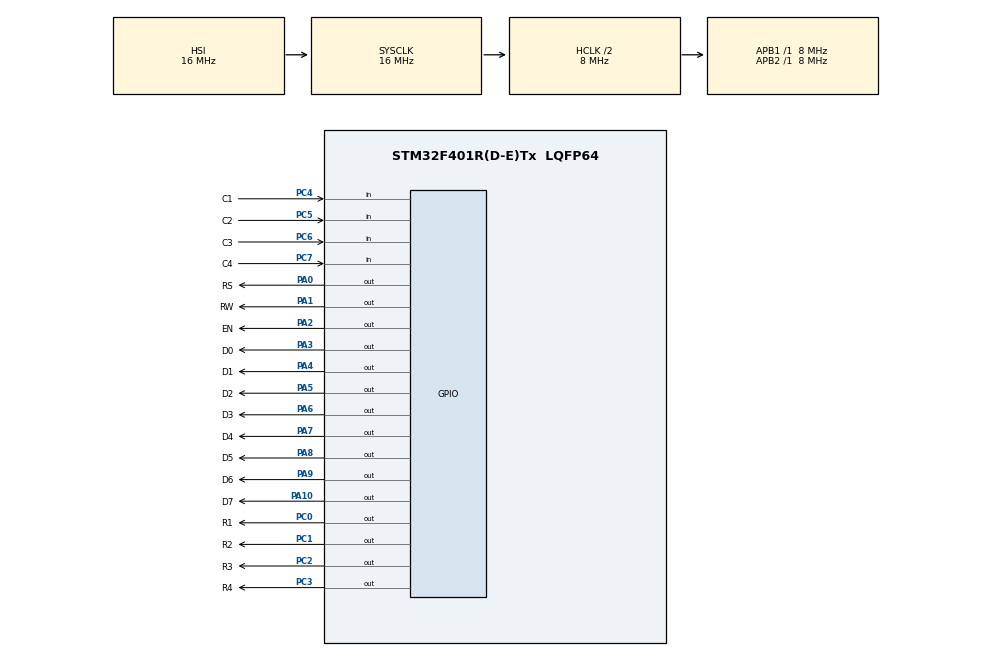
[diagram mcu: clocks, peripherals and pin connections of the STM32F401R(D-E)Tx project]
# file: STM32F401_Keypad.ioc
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Mcu.Family=STM32F4
Mcu.Name=STM32F401R(D-E)Tx
Mcu.Package=LQFP64
NVIC.PriorityGroup=NVIC_PRIORITYGROUP_4
PA0-WKUP.GPIO_Label=RS
PA0-WKUP.Signal=GPIO_Output
PA1.GPIO_Label=RW
PA1.Signal=GPIO_Output
PA10.GPIO_Label=D7
PA10.Signal=GPIO_Output
PA2.GPIO_Label=EN
PA2.Signal=GPIO_Output
PA3.GPIO_Label=D0
PA3.Signal=GPIO_Output
PA4.GPIO_Label=D1
PA4.Signal=GPIO_Output
PA5.GPIO_Label=D2
PA5.Signal=GPIO_Output
PA6.GPIO_Label=D3
PA6.Signal=GPIO_Output
PA7.GPIO_Label=D4
PA7.Signal=GPIO_Output
PA8.GPIO_Label=D5
PA8.Signal=GPIO_Output
PA9.GPIO_Label=D6
PA9.Signal=GPIO_Output
PC0.GPIO_Label=R1
PC0.Signal=GPIO_Output
PC1.GPIO_Label=R2
PC1.Signal=GPIO_Output
PC14-OSC32_IN.Mode=LSE-External-Oscillator
PC14-OSC32_IN.Signal=RCC_OSC32_IN
PC15-OSC32_OUT.Mode=LSE-External-Oscillator
PC15-OSC32_OUT.Signal=RCC_OSC32_OUT
PC2.GPIO_Label=R3
PC2.Signal=GPIO_Output
PC3.GPIO_Label=R4
PC3.Signal=GPIO_Output
PC4.GPIO_Label=C1
PC4.Signal=GPIO_Input
PC5.GPIO_Label=C2
PC5.Signal=GPIO_Input
PC6.GPIO_Label=C3
PC6.Signal=GPIO_Input
PC7.GPIO_Label=C4
PC7.Signal=GPIO_Input
PH0\ -\ OSC_IN.Mode=HSE-External-Oscillator
PH0\ -\ OSC_IN.Signal=RCC_OSC_IN
PH1\ -\ OSC_OUT.Mode=HSE-External-Oscillator
PH1\ -\ OSC_OUT.Signal=RCC_OSC_OUT
ProjectManager.HeapSize=0x200
ProjectManager.StackSize=0x400
ProjectManager.TargetToolchain=STM32CubeIDE
RCC.AHBCLKDivider=RCC_SYSCLK_DIV2
RCC.AHBFreq_Value=8000000
RCC.APB1Freq_Value=8000000
RCC.APB1TimFreq_Value=8000000
RCC.APB2Freq_Value=8000000
RCC.APB2TimFreq_Value=8000000
RCC.CortexFreq_Value=8000000
RCC.HCLKFreq_Value=8000000
RCC.HSE_VALUE=25000000
RCC.HSI_VALUE=16000000
RCC.SYSCLKFreq_VALUE=16000000
RCC.VCOOutputFreq_Value=192000000
board=custom

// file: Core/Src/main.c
/* USER CODE BEGIN Header */
/**
  ******************************************************************************
  * @file           : main.c
  * @brief          : Main program body
  ******************************************************************************
  * @attention
  *
  * Copyright (c) 2024 STMicroelectronics.
  * All rights reserved.
  *
  * This software is licensed under terms that can be found in the LICENSE file
  * in the root directory of this software component.
  * If no LICENSE file comes with this software, it is provided AS-IS.
  *
  ******************************************************************************
  */
/* USER CODE END Header */
#include "main.h"

/* USER CODE BEGIN Includes */
#include <stdio.h>
#include <stdlib.h>
#include <string.h>
/* USER CODE END Includes */

/* USER CODE BEGIN PV */
uint16_t pin[] = {D0_Pin,D1_Pin,D2_Pin,D3_Pin,D4_Pin,D5_Pin,D6_Pin,D7_Pin};
uint8_t i=0;
/* USER CODE END PV */

void SystemClock_Config(void);
static void MX_GPIO_Init(void);
/* USER CODE BEGIN PFP */
void DataByte_Write(char data) ;
void LCD_Cmd(char cmd);
void LCD_Data(char data);
void LCD_Init();
void LCD_String(char *ptr);
uint8_t Read_Keypad( void );
void Calculator( void );
/* USER CODE END PFP */

int main(void)
{

  /* MCU Configuration--------------------------------------------------------*/

  /* Reset of all peripherals, Initializes the Flash interface and the Systick. */
  HAL_Init();

  /* Configure the system clock */
  SystemClock_Config();

  /* Initialize all configured peripherals */
  MX_GPIO_Init();
  /* USER CODE BEGIN 2 */
  LCD_Init();
  /* USER CODE END 2 */

  /* Infinite loop */
  /* USER CODE BEGIN WHILE */
  while (1)
  {
	  Calculator();
    /* USER CODE END WHILE */

  }
}

void SystemClock_Config(void)
{
  RCC_OscInitTypeDef RCC_OscInitStruct = {0};
  RCC_ClkInitTypeDef RCC_ClkInitStruct = {0};

  /** Configure the main internal regulator output voltage
  */
  __HAL_RCC_PWR_CLK_ENABLE();
  __HAL_PWR_VOLTAGESCALING_CONFIG(PWR_REGULATOR_VOLTAGE_SCALE2);

  /** Initializes the RCC Oscillators according to the specified parameters
  * in the RCC_OscInitTypeDef structure.
  */
  RCC_OscInitStruct.OscillatorType = RCC_OSCILLATORTYPE_HSI;
  RCC_OscInitStruct.HSIState = RCC_HSI_ON;
  RCC_OscInitStruct.HSICalibrationValue = RCC_HSICALIBRATION_DEFAULT;
  RCC_OscInitStruct.PLL.PLLState = RCC_PLL_NONE;
  if (HAL_RCC_OscConfig(&RCC_OscInitStruct) != HAL_OK)
  {
    Error_Handler();
  }

  /** Initializes the CPU, AHB and APB buses clocks
  */
  RCC_ClkInitStruct.ClockType = RCC_CLOCKTYPE_HCLK|RCC_CLOCKTYPE_SYSCLK
                              |RCC_CLOCKTYPE_PCLK1|RCC_CLOCKTYPE_PCLK2;
  RCC_ClkInitStruct.SYSCLKSource = RCC_SYSCLKSOURCE_HSI;
  RCC_ClkInitStruct.AHBCLKDivider = RCC_SYSCLK_DIV2;
  RCC_ClkInitStruct.APB1CLKDivider = RCC_HCLK_DIV1;
  RCC_ClkInitStruct.APB2CLKDivider = RCC_HCLK_DIV1;

  if (HAL_RCC_ClockConfig(&RCC_ClkInitStruct, FLASH_LATENCY_0) != HAL_OK)
  {
    Error_Handler();
  }
}

static void MX_GPIO_Init(void)
{
  GPIO_InitTypeDef GPIO_InitStruct = {0};

  /* GPIO Ports Clock Enable */
  __HAL_RCC_GPIOC_CLK_ENABLE();
  __HAL_RCC_GPIOH_CLK_ENABLE();
  __HAL_RCC_GPIOA_CLK_ENABLE();

  /*Configure GPIO pin Output Level */
  HAL_GPIO_WritePin(GPIOC, R1_Pin|R2_Pin|R3_Pin|R4_Pin, GPIO_PIN_RESET);

  /*Configure GPIO pin Output Level */
  HAL_GPIO_WritePin(GPIOA, RS_Pin|RW_Pin|EN_Pin|D0_Pin
                          |D1_Pin|D2_Pin|D3_Pin|D4_Pin
                          |D5_Pin|D6_Pin|D7_Pin, GPIO_PIN_RESET);

  /*Configure GPIO pins : R1_Pin R2_Pin R3_Pin R4_Pin */
  GPIO_InitStruct.Pin = R1_Pin|R2_Pin|R3_Pin|R4_Pin;
  GPIO_InitStruct.Mode = GPIO_MODE_OUTPUT_PP;
  GPIO_InitStruct.Pull = GPIO_NOPULL;
  GPIO_InitStruct.Speed = GPIO_SPEED_FREQ_LOW;
  HAL_GPIO_Init(GPIOC, &GPIO_InitStruct);

  /*Configure GPIO pins : RS_Pin RW_Pin EN_Pin D0_Pin
                           D1_Pin D2_Pin D3_Pin D4_Pin
                           D5_Pin D6_Pin D7_Pin */
  GPIO_InitStruct.Pin = RS_Pin|RW_Pin|EN_Pin|D0_Pin
                          |D1_Pin|D2_Pin|D3_Pin|D4_Pin
                          |D5_Pin|D6_Pin|D7_Pin;
  GPIO_InitStruct.Mode = GPIO_MODE_OUTPUT_PP;
  GPIO_InitStruct.Pull = GPIO_NOPULL;
  GPIO_InitStruct.Speed = GPIO_SPEED_FREQ_LOW;
  HAL_GPIO_Init(GPIOA, &GPIO_InitStruct);

  /*Configure GPIO pins : C1_Pin C2_Pin C3_Pin C4_Pin */
  GPIO_InitStruct.Pin = C1_Pin|C2_Pin|C3_Pin|C4_Pin;
  GPIO_InitStruct.Mode = GPIO_MODE_INPUT;
  GPIO_InitStruct.Pull = GPIO_NOPULL;
  HAL_GPIO_Init(GPIOC, &GPIO_InitStruct);

}

/* USER CODE BEGIN 4 */

void Calculator( void ) {

	char num1[10],num2[10],op;
	uint8_t  i=0,j=0;
	uint16_t result =0;
	HAL_GPIO_WritePin(GPIOC, C1_Pin, 1);
	HAL_GPIO_WritePin(GPIOC, C2_Pin, 1);
	HAL_GPIO_WritePin(GPIOC, C3_Pin, 1);
	HAL_GPIO_WritePin(GPIOC, C4_Pin, 1);
	LCD_Cmd(0x80);
	LCD_String("Enter Num1:       ");

	while(1) {

		char key = Read_Keypad();
		if(key != 0){
			if(key >= '0' && key <= '9') {

				num1[i] = key;
				i++;
				//num1[i] = '\0';
				LCD_Cmd(0x8b);
				LCD_String(num1);
			}
			else if( key == '=') {
				 i=0;
				 break;
			}
		}
	}

	LCD_Cmd(0x80);
	LCD_String("Enter Op :       ");
	while(1) {

		char key = Read_Keypad();
		if(key != 0){
			if(key == '+' || key == '-' || key == '*' || key == '/') {

				op = key;
				LCD_Cmd(0x80);
				LCD_String("You Want:");
				LCD_Cmd(0x8b);
				LCD_Data(key);
				HAL_Delay(1000);
				break;
			}
		}
	}

	LCD_Cmd(0x80);
	LCD_String("Enter Num2 :     ");

	while(1) {

		char key = Read_Keypad();
		if(key >= '0' && key <= '9') {

			num2[j] = key;
			j++;
			//num1[j] = '\0';
			LCD_Cmd(0x8d);
			LCD_String(num2);
		}
		else if( key == '=') {
			 j=0;
			 break;
		}
	}

	int n1 = atoi(num1);
	int n2 = atoi(num2);

	switch(op) {

	case '+':
		result = n1+n2;
		break;

	case '-':
		result = n1-n2;
		break;
	case '*':
		result = n1*n2;
		break;
	case '/':
		result = n1/n2;
		break;
	default:
		break;
	}
	LCD_Cmd(0x01);
	char str[16];
	sprintf(str, "Result : %02d",result);
	LCD_Cmd(0x80);
	LCD_String(str);
	HAL_Delay(5000);

}
void DataByte_Write(char data) {

	for( i=0;i<8;i++) {

		HAL_GPIO_WritePin(GPIOA, pin[i], ((data>>i)&0x01) ? GPIO_PIN_SET:GPIO_PIN_RESET);
	}
}

void LCD_Cmd(char cmd) {

	DataByte_Write(cmd);
	HAL_GPIO_WritePin(RS_GPIO_Port, RS_Pin, GPIO_PIN_RESET);
	HAL_GPIO_WritePin(RW_GPIO_Port, RW_Pin, GPIO_PIN_RESET);
	HAL_GPIO_WritePin(EN_GPIO_Port, EN_Pin, GPIO_PIN_SET);
	HAL_Delay(2);
	HAL_GPIO_WritePin(EN_GPIO_Port, EN_Pin, GPIO_PIN_RESET);
	HAL_Delay(2);
}

void LCD_Data(char data) {

	DataByte_Write(data);
	HAL_GPIO_WritePin(RS_GPIO_Port, RS_Pin, GPIO_PIN_SET);
	HAL_GPIO_WritePin(RW_GPIO_Port, RW_Pin, GPIO_PIN_RESET);
	HAL_GPIO_WritePin(EN_GPIO_Port, EN_Pin, GPIO_PIN_SET);
	HAL_Delay(2);
	HAL_GPIO_WritePin(EN_GPIO_Port, EN_Pin, GPIO_PIN_RESET);
	HAL_Delay(2);
}

void LCD_Init() {

	LCD_Cmd(0x01);
	LCD_Cmd(0x02);
	LCD_Cmd(0x06);
	LCD_Cmd(0x38);
	LCD_Cmd(0x0C);

}

void LCD_String(char *ptr) {

	while(*ptr) {
		LCD_Data(*ptr++);
	}
}

uint8_t Read_Keypad( void ) {

	HAL_GPIO_WritePin(GPIOC, R1_Pin, 0);
	HAL_GPIO_WritePin(GPIOC, R2_Pin, 1);
	HAL_GPIO_WritePin(GPIOC, R3_Pin, 1);
	HAL_GPIO_WritePin(GPIOC, R4_Pin, 1);
	HAL_Delay(20);
	if(HAL_GPIO_ReadPin(GPIOC, C1_Pin) == 0) {

		while(HAL_GPIO_ReadPin(GPIOC, C1_Pin) == 0);
		return '7';
	}

	if(HAL_GPIO_ReadPin(GPIOC, C2_Pin) == 0) {

		while(HAL_GPIO_ReadPin(GPIOC, C2_Pin) == 0);
		return '8';
	}

	if(HAL_GPIO_ReadPin(GPIOC, C3_Pin) == 0) {

		while(HAL_GPIO_ReadPin(GPIOC, C3_Pin) == 0);
		return '9';
	}

	if(HAL_GPIO_ReadPin(GPIOC, C4_Pin) == 0) {

		while(HAL_GPIO_ReadPin(GPIOC, C4_Pin) == 0);
		return '/';
	}

	HAL_GPIO_WritePin(GPIOC, R1_Pin, 1);
	HAL_GPIO_WritePin(GPIOC, R2_Pin, 0);
	HAL_GPIO_WritePin(GPIOC, R3_Pin, 1);
	HAL_GPIO_WritePin(GPIOC, R4_Pin, 1);
	HAL_Delay(20);
	if(HAL_GPIO_ReadPin(GPIOC, C1_Pin) ==0) {

		while(HAL_GPIO_ReadPin(GPIOC, C1_Pin) == 0);
		return '4';
	}

	if(HAL_GPIO_ReadPin(GPIOC, C2_Pin) == 0) {

		while(HAL_GPIO_ReadPin(GPIOC, C2_Pin) == 0);
		return '5';
	}

	if(HAL_GPIO_ReadPin(GPIOC, C3_Pin) == 0) {

		while(HAL_GPIO_ReadPin(GPIOC, C3_Pin) == 0);
		return '6';
	}

	if(HAL_GPIO_ReadPin(GPIOC, C4_Pin) == 0) {

		while(HAL_GPIO_ReadPin(GPIOC, C4_Pin) == 0);
		return '*';
	}

	HAL_GPIO_WritePin(GPIOC, R1_Pin, 1);
	HAL_GPIO_WritePin(GPIOC, R2_Pin, 1);
	HAL_GPIO_WritePin(GPIOC, R3_Pin, 0);
	HAL_GPIO_WritePin(GPIOC, R4_Pin, 1);
	HAL_Delay(20);
	if(HAL_GPIO_ReadPin(GPIOC, C1_Pin) == 0) {

		while(HAL_GPIO_ReadPin(GPIOC, C1_Pin) == 0);
		return '1';
	}

	if(HAL_GPIO_ReadPin(GPIOC, C2_Pin) == 0) {

		while(HAL_GPIO_ReadPin(GPIOC, C2_Pin) == 0);
		return '2';
	}

	if(HAL_GPIO_ReadPin(GPIOC, C3_Pin) == 0) {

		while(HAL_GPIO_ReadPin(GPIOC, C3_Pin) == 0);
		return '3';
	}

	if(HAL_GPIO_ReadPin(GPIOC, C4_Pin) == 0) {

		while(HAL_GPIO_ReadPin(GPIOC, C4_Pin) == 0);
		return '-';
	}

	HAL_GPIO_WritePin(GPIOC, R1_Pin, 1);
	HAL_GPIO_WritePin(GPIOC, R2_Pin, 1);
	HAL_GPIO_WritePin(GPIOC, R3_Pin, 1);
	HAL_GPIO_WritePin(GPIOC, R4_Pin, 0);
	HAL_Delay(20);
	if(HAL_GPIO_ReadPin(GPIOC, C1_Pin) == 0) {

		while(HAL_GPIO_ReadPin(GPIOC, C1_Pin) == 0);
		return 'C';
	}

	if(HAL_GPIO_ReadPin(GPIOC, C2_Pin) == 0) {

		while(HAL_GPIO_ReadPin(GPIOC, C2_Pin) == 0);
		return '0';
	}

	if(HAL_GPIO_ReadPin(GPIOC, C3_Pin) == 0) {

		while(HAL_GPIO_ReadPin(GPIOC, C3_Pin) == 0);
		return '=';
	}

	if(HAL_GPIO_ReadPin(GPIOC, C4_Pin) == 0) {

		while(HAL_GPIO_ReadPin(GPIOC, C4_Pin) == 0);
		return '+';
	}
	return 0;
}

/* USER CODE END 4 */

void Error_Handler(void)
{
  __disable_irq();
  while (1)
  {
  }
}
